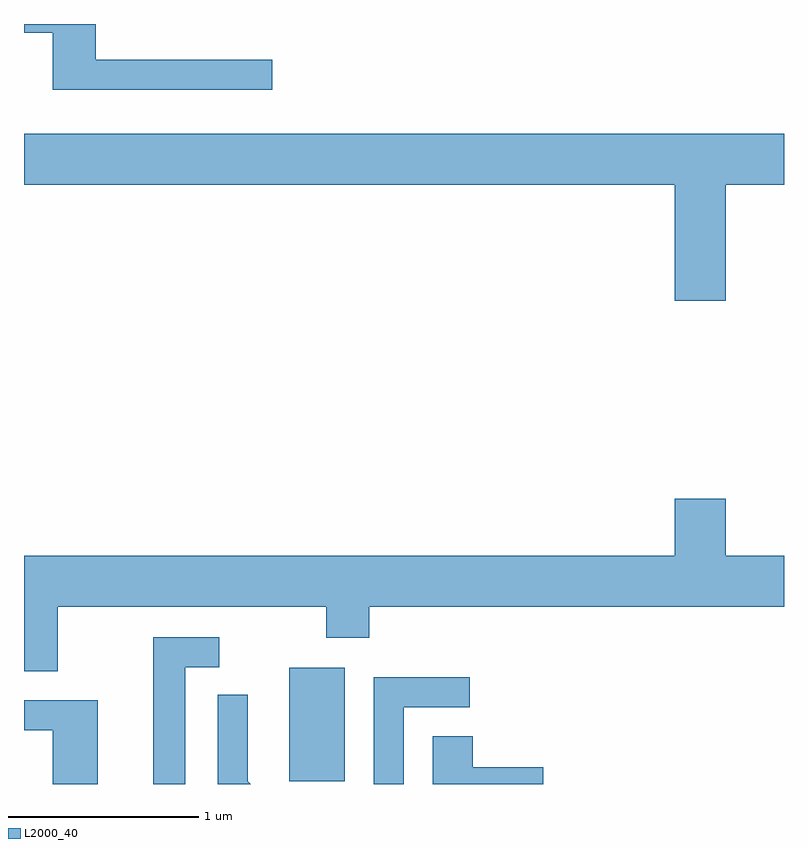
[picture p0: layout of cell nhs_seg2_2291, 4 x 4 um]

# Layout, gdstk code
import gdstk
lib = gdstk.Library(unit=1e-6, precision=1e-09)
def R(c, l, rs):  # rectangles x0, y0, x1, y1
    for r in rs: c.add(gdstk.rectangle(r[:2], r[2:], *l))
def P(c, l, *ps):  # polygons
    for p in ps: c.add(gdstk.Polygon(p, *l))
L2000_40 = (2000, 40)

nhs_seg2_2291 = lib.new_cell('nhs_seg2_2291')
R(nhs_seg2_2291, L2000_40, [(253.006,1071.816,253.299,1072.414)])
P(nhs_seg2_2291, L2000_40, [(252.918,1075.614),(251.989,1075.614),(251.989,1075.802),(251.611,1075.802),(251.611,1075.756),(251.761,1075.756),(251.761,1075.456),(252.918,1075.456)],
  [(255.304,1074.956),(255.611,1074.956),(255.611,1075.224),(251.611,1075.224),(251.611,1074.956),(255.036,1074.956),(255.036,1074.346),(255.304,1074.346)],
  [(251.789,1072.736),(253.201,1072.736),(253.201,1072.571),(253.429,1072.571),(253.429,1072.736),(255.611,1072.736),(255.611,1073.004),(255.304,1073.004),(255.304,1073.304),(255.036,1073.304),(255.036,1073.004),(251.611,1073.004),(251.611,1072.396),(251.789,1072.396)],
  [(252.459,1072.416),(252.638,1072.416),(252.638,1072.574),(252.291,1072.574),(252.291,1071.802),(252.459,1071.802)],
  [(253.609,1072.206),(253.958,1072.206),(253.958,1072.364),(253.451,1072.364),(253.451,1071.802),(253.609,1071.802)],
  [(252.789,1071.817),(252.789,1072.273),(252.631,1072.273),(252.631,1071.802),(252.804,1071.802)],
  [(251.999,1072.244),(251.611,1072.244),(251.611,1072.086),(251.761,1072.086),(251.761,1071.802),(251.999,1071.802)],
  [(254.344,1071.889),(253.974,1071.889),(253.974,1072.054),(253.761,1072.054),(253.761,1071.802),(254.344,1071.802)])

lib.write_gds('nhs_seg2_2291.gds')
